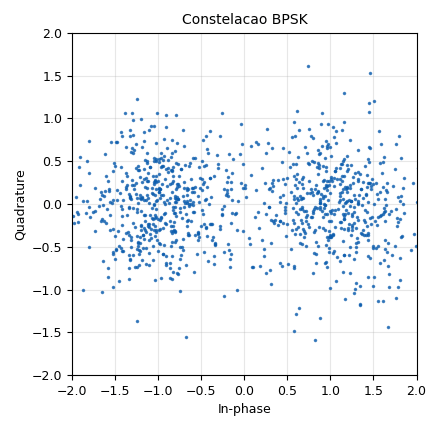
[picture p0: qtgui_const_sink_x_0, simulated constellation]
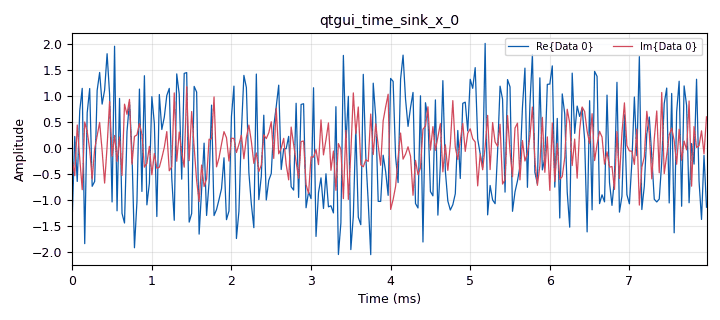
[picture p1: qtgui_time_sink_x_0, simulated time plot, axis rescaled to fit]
<?xml version='1.0' encoding='utf-8'?>
<?grc format='1' created='3.7.6'?>
<flow_graph>
<block>
<key>options</key>
<param><key>id</key><value>top_block</value></param>
<param><key>title</key><value>BPSK</value></param>
<param><key>author</key><value>Leonardo</value></param>
<param><key>generate_options</key><value>qt_gui</value></param>
<param><key>category</key><value>Custom</value></param>
</block>
<block>
<key>variable</key>
<param><key>id</key><value>samp_rate</value></param>
<param><key>value</key><value>32e3</value></param>
</block>
<block>
<key>variable</key>
<param><key>id</key><value>const_0</value></param>
<param><key>value</key><value>(digital.constellation_bpsk())</value></param>
</block>
<block>
<key>blocks_throttle</key>
<param><key>id</key><value>blocks_throttle_1</value></param>
<param><key>type</key><value>byte</value></param>
<param><key>samples_per_second</key><value>samp_rate</value></param>
</block>
<block>
<key>blocks_throttle</key>
<param><key>id</key><value>blocks_throttle_0</value></param>
<param><key>type</key><value>byte</value></param>
<param><key>samples_per_second</key><value>samp_rate</value></param>
</block>
<block>
<key>analog_random_source_x</key>
<param><key>id</key><value>analog_random_source_x_0</value></param>
<param><key>type</key><value>byte</value></param>
<param><key>min</key><value>0</value></param>
<param><key>max</key><value>2</value></param>
<param><key>num_samps</key><value>100000</value></param>
<param><key>repeat</key><value>True</value></param>
</block>
<block>
<key>digital_chunks_to_symbols_xx</key>
<param><key>id</key><value>digital_chunks_to_symbols_xx_0</value></param>
<param><key>in_type</key><value>byte</value></param>
<param><key>out_type</key><value>complex</value></param>
<param><key>symbol_table</key><value>const_0.points()</value></param>
<param><key>dimension</key><value>1</value></param>
</block>
<block>
<key>analog_noise_source_x</key>
<param><key>id</key><value>analog_noise_source_x_0</value></param>
<param><key>type</key><value>complex</value></param>
<param><key>noise_type</key><value>analog.GR_GAUSSIAN</value></param>
<param><key>amp</key><value>1.0 / math.sqrt(2.0 *const_0.bits_per_symbol() * 10**(EbN0/10))</value></param>
<param><key>seed</key><value>0</value></param>
</block>
<block>
<key>blocks_complex_to_real</key>
<param><key>id</key><value>blocks_complex_to_real_0</value></param>
</block>
<block>
<key>digital_binary_slicer_fb</key>
<param><key>id</key><value>digital_binary_slicer_fb_0</value></param>
</block>
<block>
<key>import</key>
<param><key>id</key><value>import</value></param>
<param><key>import</key><value>import math</value></param>
</block>
<block>
<key>qtgui_number_sink</key>
<param><key>id</key><value>qtgui_number_sink_0</value></param>
<param><key>name</key><value>"BER (%)"</value></param>
<param><key>type</key><value>float</value></param>
<param><key>autoscale</key><value>True</value></param>
<param><key>graph_type</key><value>qtgui.NUM_GRAPH_HORIZ</value></param>
<param><key>min</key><value>-100</value></param>
<param><key>max</key><value>100</value></param>
<param><key>color1</key><value>("black", "red")</value></param>
</block>
<block>
<key>variable_qtgui_range</key>
<param><key>id</key><value>EbN0</value></param>
<param><key>label</key><value>Eb/N0</value></param>
<param><key>value</key><value>0.5</value></param>
<param><key>start</key><value>-15</value></param>
<param><key>stop</key><value>15</value></param>
<param><key>step</key><value>5</value></param>
<param><key>orient</key><value>Qt.Horizontal</value></param>
</block>
<block>
<key>blocks_add_xx</key>
<param><key>id</key><value>blocks_add_xx_0</value></param>
<param><key>type</key><value>complex</value></param>
</block>
<block>
<key>blocks_head</key>
<param><key>id</key><value>blocks_head_0</value></param>
<param><key>type</key><value>float</value></param>
<param><key>num_items</key><value>1000000</value></param>
</block>
<block>
<key>blks2_error_rate</key>
<param><key>id</key><value>blks2_error_rate_0</value></param>
<param><key>type</key><value>'BER'</value></param>
<param><key>win_size</key><value>100000</value></param>
<param><key>bits_per_symbol</key><value>const_0.bits_per_symbol()</value></param>
</block>
<block>
<key>qtgui_const_sink_x</key>
<param><key>id</key><value>qtgui_const_sink_x_0</value></param>
<param><key>type</key><value>complex</value></param>
<param><key>name</key><value>"Constelacao BPSK"</value></param>
<param><key>size</key><value>1024</value></param>
<param><key>gui_hint</key><value>1,0</value></param>
</block>
<block>
<key>qtgui_time_sink_x</key>
<param><key>id</key><value>qtgui_time_sink_x_0</value></param>
<param><key>type</key><value>complex</value></param>
<param><key>size</key><value>256</value></param>
<param><key>srate</key><value>samp_rate</value></param>
<param><key>gui_hint</key><value>1,1</value></param>
<param><key>label1</key><value></value></param>
<param><key>color1</key><value>"blue"</value></param>
<param><key>label2</key><value></value></param>
<param><key>color2</key><value>"red"</value></param>
</block>
<block>
<key>blocks_file_sink</key>
<param><key>id</key><value>blocks_file_sink_0</value></param>
<param><key>file</key><value>/home/alunos/Documentos/minicurso/BER.bin</value></param>
<param><key>type</key><value>float</value></param>
</block>
<connection><source_block_id>blocks_complex_to_real_0</source_block_id><sink_block_id>digital_binary_slicer_fb_0</sink_block_id><source_key>0</source_key><sink_key>0</sink_key></connection>
<connection><source_block_id>analog_random_source_x_0</source_block_id><sink_block_id>blocks_throttle_0</sink_block_id><source_key>0</source_key><sink_key>0</sink_key></connection>
<connection><source_block_id>analog_noise_source_x_0</source_block_id><sink_block_id>blocks_add_xx_0</sink_block_id><source_key>0</source_key><sink_key>0</sink_key></connection>
<connection><source_block_id>digital_chunks_to_symbols_xx_0</source_block_id><sink_block_id>blocks_add_xx_0</sink_block_id><source_key>0</source_key><sink_key>1</sink_key></connection>
<connection><source_block_id>digital_binary_slicer_fb_0</source_block_id><sink_block_id>blocks_throttle_1</sink_block_id><source_key>0</source_key><sink_key>0</sink_key></connection>
<connection><source_block_id>blocks_add_xx_0</source_block_id><sink_block_id>blocks_complex_to_real_0</sink_block_id><source_key>0</source_key><sink_key>0</sink_key></connection>
<connection><source_block_id>blocks_add_xx_0</source_block_id><sink_block_id>qtgui_const_sink_x_0</sink_block_id><source_key>0</source_key><sink_key>0</sink_key></connection>
<connection><source_block_id>blks2_error_rate_0</source_block_id><sink_block_id>qtgui_number_sink_0</sink_block_id><source_key>0</source_key><sink_key>0</sink_key></connection>
<connection><source_block_id>blocks_throttle_1</source_block_id><sink_block_id>blks2_error_rate_0</sink_block_id><source_key>0</source_key><sink_key>1</sink_key></connection>
<connection><source_block_id>blocks_throttle_0</source_block_id><sink_block_id>blks2_error_rate_0</sink_block_id><source_key>0</source_key><sink_key>0</sink_key></connection>
<connection><source_block_id>analog_random_source_x_0</source_block_id><sink_block_id>digital_chunks_to_symbols_xx_0</sink_block_id><source_key>0</source_key><sink_key>0</sink_key></connection>
<connection><source_block_id>blocks_add_xx_0</source_block_id><sink_block_id>qtgui_time_sink_x_0</sink_block_id><source_key>0</source_key><sink_key>0</sink_key></connection>
<connection><source_block_id>blks2_error_rate_0</source_block_id><sink_block_id>blocks_head_0</sink_block_id><source_key>0</source_key><sink_key>0</sink_key></connection>
<connection><source_block_id>blocks_head_0</source_block_id><sink_block_id>blocks_file_sink_0</sink_block_id><source_key>0</source_key><sink_key>0</sink_key></connection>
</flow_graph>
